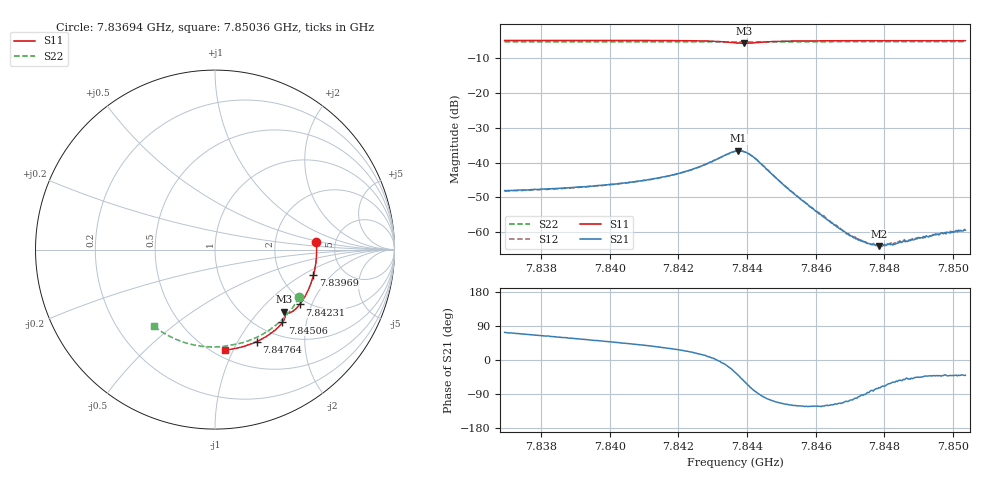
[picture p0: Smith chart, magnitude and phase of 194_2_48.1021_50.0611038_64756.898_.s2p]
#  HZ  S  RI  R  50.00
! Rohde & Schwarz Vector Network Analyzer
! Rohde-Schwarz,ZNB20-2Port,1311601062101988,3.16
! Created: UTC 12/23/2023, 3:54:05 AM
! freq[Hz]  re:S11  im:S11  re:S21  im:S21  re:S12  im:S12  re:S22  im:S22
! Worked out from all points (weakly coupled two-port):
!   401 points, 7.83694 GHz to 7.85036 GHz, reference 50 ohm
!   highest |S21| = -36.63 dB at 7.84375 GHz (marker M1); lowest = -63.9 dB at 7.84784 GHz (marker M2)
!   lowest |S11| = -5.7 dB at 7.84392 GHz (marker M3), VSWR 3.14, Z = 73.4 - j69.2 ohm
!   |S11| at or under -10 dB: nowhere
!   |S22| runs from -5.4 to -5.3 dB; largest |S21 - S12| = 0.00027
!   S11 on the Smith chart (normalised r, x): 7.83694 GHz: 3.56, +0.42; 7.83969 GHz: 3.03, -1.27; 7.84231 GHz: 1.84, -1.64; 7.84506 GHz: 1.25, -1.46; 7.84764 GHz: 0.80, -1.20; 7.85036 GHz: 0.57, -0.93
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7.836938e9  0.5648 0.0398  0.00117 0.00378  0.00118 0.0037  0.4692 -0.2663
7.839186e9  0.5562 -0.109  0.00255 0.00365  0.00254 0.00362  0.3733 -0.3906
7.839689e9  0.5487 -0.142  0.00296 0.00364  0.00292 0.00361  0.3472 -0.4142
7.841433e9  0.506 -0.253  0.005 0.00338  0.00494 0.00338  0.2457 -0.4822
7.842305e9  0.472 -0.3057  0.00713 0.00287  0.00713 0.00289  0.1896 -0.507
7.843144e9  0.4237 -0.3491  0.0113 -0.000171  0.0113 -0.000141  0.133 -0.524
7.843647e9  0.3882 -0.353  0.0123 -0.00782  0.0123 -0.00765  0.0994 -0.5299
7.843748e9  0.3844 -0.3499  0.0111 -0.00968  0.0111 -0.00952  0.093 -0.5309
7.843915e9  0.3836 -0.3457  0.00797 -0.0119  0.00804 -0.0118  0.0822 -0.5327
7.844217e9  0.391 -0.3512  0.00171 -0.0115  0.00171 -0.0115  0.0629 -0.5364
7.845056e9  0.3753 -0.406  -0.00205 -0.00433  -0.00206 -0.00439  0.0044 -0.5425
7.845894e9  0.3338 -0.4497  -0.00116 -0.00186  -0.00117 -0.00191  -0.0547 -0.5407
7.846934e9  0.2747 -0.4906  -0.000322 -0.000894  -0.000304 -0.00091  -0.1268 -0.5294
7.84727e9  0.2548 -0.5015  -8.68e-05 -0.000776  -0.000108 -0.000759  -0.1497 -0.5234
7.847639e9  0.2325 -0.5126  0.000114 -0.000658  6.75e-05 -0.000653  -0.1745 -0.5161
7.84784e9  0.2201 -0.5182  0.000189 -0.000606  0.000229 -0.000623  -0.1878 -0.5115
7.84794e9  0.214 -0.5207  0.000233 -0.000596  0.000231 -0.000585  -0.1946 -0.5089
7.848142e9  0.2013 -0.5257  0.000317 -0.000608  0.00032 -0.000594  -0.2077 -0.5038
7.848309e9  0.1908 -0.5296  0.000352 -0.00057  0.000397 -0.000583  -0.2187 -0.4992
7.848913e9  0.1525 -0.5418  0.000555 -0.000577  0.000602 -0.000558  -0.2568 -0.4813
7.849517e9  0.1134 -0.5513  0.000708 -0.000615  0.000691 -0.000612  -0.2934 -0.4601
7.850356e9  0.0581 -0.5594  0.000811 -0.000692  0.000834 -0.000704  -0.3415 -0.4263
